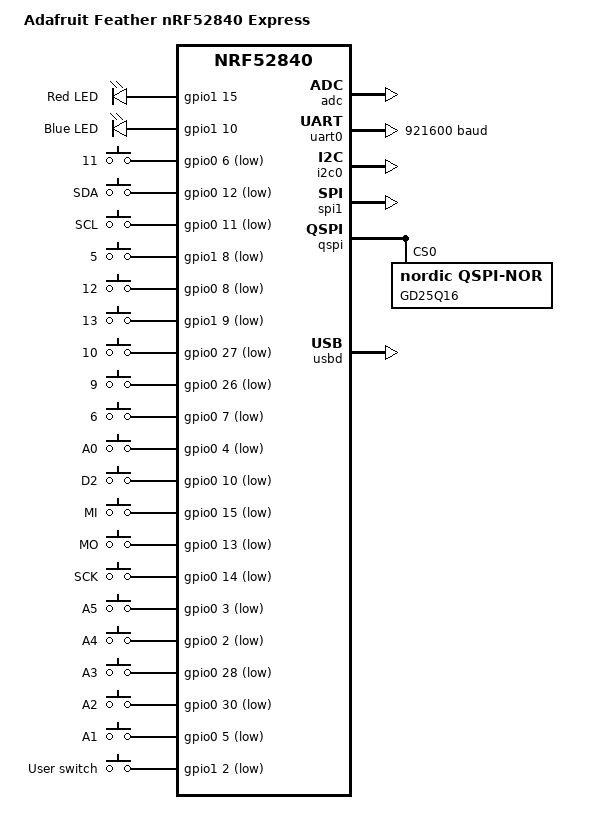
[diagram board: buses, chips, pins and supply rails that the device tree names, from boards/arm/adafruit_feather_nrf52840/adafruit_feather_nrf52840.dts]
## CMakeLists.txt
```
cmake_minimum_required(VERSION 3.20.0)

set(BOARD_ROOT ${CMAKE_CURRENT_LIST_DIR})

find_package(Zephyr REQUIRED HINTS $ENV{ZEPHYR_BASE})
project(NONE)

target_sources(app PRIVATE
    src/main.c
)
```

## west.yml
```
manifest:
  remotes:
    - name: ncs
      url-base: https://github.com/nrfconnect
  projects:
    - name: nrf
      remote: ncs
      repo-path: sdk-nrf
      revision: v3.2.4
      import: true
```

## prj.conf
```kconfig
CONFIG_BT=y
CONFIG_BT_DEBUG_LOG=y
#CONFIG_BT_MAX_CONN=1
#CONFIG_BT_MAX_PAIRED=1
CONFIG_BT_L2CAP_TX_BUF_COUNT=5
CONFIG_BT_PERIPHERAL=y
#CONFIG_BT_DEVICE_NAME="Gamepad nRF52"
CONFIG_BT_DEVICE_APPEARANCE=964

CONFIG_BT_BAS=y
CONFIG_BT_HIDS=y
#CONFIG_BT_HIDS_MAX_CLIENT_COUNT=1
CONFIG_BT_GATT_UUID16_POOL_SIZE=40
CONFIG_BT_GATT_CHRC_POOL_SIZE=20

CONFIG_BT_CONN_CTX=y

CONFIG_BT_DIS=y
CONFIG_BT_DIS_PNP=y
CONFIG_BT_DIS_MANUF="Arasaka"
CONFIG_BT_DIS_PNP_VID_SRC=2
CONFIG_BT_DIS_PNP_VID=0x18d1
CONFIG_BT_DIS_PNP_PID=0x9400
CONFIG_BT_DIS_PNP_VER=0x0100

CONFIG_MAIN_STACK_SIZE=1536
CONFIG_SYSTEM_WORKQUEUE_STACK_SIZE=2048

CONFIG_BT_HIDS_DEFAULT_PERM_RW_ENCRYPT=y

CONFIG_BT_SMP=y
CONFIG_BT_SETTINGS=y
CONFIG_FLASH=y
CONFIG_FLASH_PAGE_LAYOUT=y
CONFIG_FLASH_MAP=y
CONFIG_NVS=y
CONFIG_SETTINGS=y

CONFIG_BT_PRIVACY=y

CONFIG_LOG=y
CONFIG_LOG_MAX_LEVEL=3
#CONFIG_BT_HIDS_LOG_LEVEL_DBG=y
#CONFIG_BT_GATT_LOG_LEVEL_DBG=y

CONFIG_BT_FILTER_ACCEPT_LIST=y

CONFIG_USE_DT_CODE_PARTITION=y
CONFIG_BUILD_OUTPUT_UF2=y

CONFIG_GPIO=y

CONFIG_POWEROFF=y

CONFIG_NRF_STORE_REBOOT_TYPE_GPREGRET=y
```

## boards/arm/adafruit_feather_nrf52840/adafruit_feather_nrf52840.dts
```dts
/*
 * Copyright (c) 2020 Tobias Svehagen
 *
 * SPDX-License-Identifier: Apache-2.0
 */

/dts-v1/;
#include <nordic/nrf52840_qiaa.dtsi>
#include "feather_connector.dtsi"
#include "adafruit_feather_nrf52840-pinctrl.dtsi"

/ {
	model = "Adafruit Feather nRF52840 Express";
	compatible = "adafruit,feather-nrf52840";

	chosen {
		zephyr,console = &uart0;
		zephyr,shell-uart = &uart0;
		zephyr,uart-mcumgr = &uart0;
		zephyr,bt-mon-uart = &uart0;
		zephyr,bt-c2h-uart = &uart0;
		zephyr,sram = &sram0;
		zephyr,flash = &flash0;
		zephyr,code-partition = &code_partition;
	};

	leds {
		compatible = "gpio-leds";
		led0: led_0 {
			gpios = <&gpio1 15 0>;
			label = "Red LED";
		};
		led1: led_1 {
			gpios = <&gpio1 10 0>;
			label = "Blue LED";
		};
	};

	buttons {
		compatible = "gpio-keys";
		button17: button_17 { gpios = <&gpio0 6 (GPIO_PULL_UP | GPIO_ACTIVE_LOW)>; label = "11"; };
		button11: button_11 { gpios = <&gpio0 12 (GPIO_PULL_UP | GPIO_ACTIVE_LOW)>; label = "SDA"; };
		button12: button_12 { gpios = <&gpio0 11 (GPIO_PULL_UP | GPIO_ACTIVE_LOW)>; label = "SCL"; };
		button13: button_13 { gpios = <&gpio1 8 (GPIO_PULL_UP | GPIO_ACTIVE_LOW)>; label = "5"; };
		button18: button_18 { gpios = <&gpio0 8 (GPIO_PULL_UP | GPIO_ACTIVE_LOW)>; label = "12"; };
		button19: button_19 { gpios = <&gpio1 9 (GPIO_PULL_UP | GPIO_ACTIVE_LOW)>; label = "13"; };
		button16: button_16 { gpios = <&gpio0 27 (GPIO_PULL_UP | GPIO_ACTIVE_LOW)>; label = "10"; };
		button15: button_15 { gpios = <&gpio0 26 (GPIO_PULL_UP | GPIO_ACTIVE_LOW)>; label = "9"; };
		button14: button_14 { gpios = <&gpio0 7 (GPIO_PULL_UP | GPIO_ACTIVE_LOW)>; label = "6"; };
		button1: button_1 { gpios = <&gpio0 4 (GPIO_PULL_UP | GPIO_ACTIVE_LOW)>; label = "A0"; };
		button10: button_10 { gpios = <&gpio0 10 (GPIO_PULL_UP | GPIO_ACTIVE_LOW)>; label = "D2"; };
		button9: button_9 { gpios = <&gpio0 15 (GPIO_PULL_UP | GPIO_ACTIVE_LOW)>; label = "MI"; };
		button8: button_8 { gpios = <&gpio0 13 (GPIO_PULL_UP | GPIO_ACTIVE_LOW)>; label = "MO"; };
		button7: button_7 { gpios = <&gpio0 14 (GPIO_PULL_UP | GPIO_ACTIVE_LOW)>; label = "SCK"; };
		button6: button_6 { gpios = <&gpio0 3 (GPIO_PULL_UP | GPIO_ACTIVE_LOW)>; label = "A5"; };
		button5: button_5 { gpios = <&gpio0 2 (GPIO_PULL_UP | GPIO_ACTIVE_LOW)>; label = "A4"; };
		button4: button_4 { gpios = <&gpio0 28 (GPIO_PULL_UP | GPIO_ACTIVE_LOW)>; label = "A3"; };
		button3: button_3 { gpios = <&gpio0 30 (GPIO_PULL_UP | GPIO_ACTIVE_LOW)>; label = "A2"; };

		button2: button_2 { gpios = <&gpio0 5 (GPIO_PULL_UP | GPIO_ACTIVE_LOW)>; label = "A1"; };
		button0: button_0 { gpios = <&gpio1 2 (GPIO_PULL_UP | GPIO_ACTIVE_LOW)>; label = "User switch"; };
	};

	/* These aliases are provided for compatibility with samples */
	aliases {
		led0 = &led0;
		led1 = &led1;
		sw0 = &button0;
	};
};

&adc {
	status = "okay";
};

&gpiote {
	status = "okay";
};

&gpio0 {
	status = "okay";
	sense-edge-mask = < 0xffffffff >;
};

&gpio1 {
	status = "okay";
	sense-edge-mask = < 0xffffffff >;
};

&uart0 {
	compatible = "nordic,nrf-uart";
	current-speed = <921600>;
	status = "okay";
	pinctrl-0 = <&uart0_default>;
	pinctrl-1 = <&uart0_sleep>;
	pinctrl-names = "default", "sleep";
};

&i2c0 {
	compatible = "nordic,nrf-twi";
	status = "okay";
	pinctrl-0 = <&i2c0_default>;
	pinctrl-1 = <&i2c0_sleep>;
	pinctrl-names = "default", "sleep";
};

&spi1 {
	compatible = "nordic,nrf-spi";
	status = "okay";
	pinctrl-0 = <&spi1_default>;
	pinctrl-1 = <&spi1_sleep>;
	pinctrl-names = "default", "sleep";
};

&qspi {
	status = "okay";
	pinctrl-0 = <&qspi_default>;
	pinctrl-1 = <&qspi_sleep>;
	pinctrl-names = "default", "sleep";
	gd25q16: gd25q16@0 {
		compatible = "nordic,qspi-nor";
		reg = <0>;
		writeoc = "pp4o";
		readoc = "read4io";
		sck-frequency = <16000000>;
		label = "GD25Q16";
		jedec-id = [c8 40 15];
		size = <16777216>;
		has-dpd;
		t-enter-dpd = <20000>;
		t-exit-dpd = <20000>;
		quad-enable-requirements = "S2B1v1";
	};
};

&flash0 {

	partitions {
		compatible = "fixed-partitions";
		#address-cells = <1>;
		#size-cells = <1>;

		sd_partition: partition@0 {
			label = "softdevice";
			reg = <0x00000000 0x00026000>;
		};

		code_partition: partition@26000 {
			label = "code_partition";
			reg = <0x00026000 0x000c6000>;
		};

		storage_partition: partition@ec000 {
			label = "storage";
			reg = <0x000ec000 0x00008000>;
		};

		boot_partition: partition@f4000 {
			label = "adafruit_boot";
			reg = <0x000f4000 0x0000c000>;
		};
	};
};

zephyr_udc0: &usbd {
	compatible = "nordic,nrf-usbd";
	status = "okay";
};
```

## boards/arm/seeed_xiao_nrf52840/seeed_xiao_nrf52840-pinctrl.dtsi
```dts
/*
 * Copyright (c) 2022 Nordic Semiconductor
 * SPDX-License-Identifier: Apache-2.0
 */

&pinctrl {
	uart0_default: uart0_default {
		group1 {
			psels = <NRF_PSEL(UART_TX, 1, 11)>,
				<NRF_PSEL(UART_RX, 1, 12)>;
		};
	};

	uart0_sleep: uart0_sleep {
		group1 {
			psels = <NRF_PSEL(UART_TX, 1, 11)>,
				<NRF_PSEL(UART_RX, 1, 12)>;
			low-power-enable;
		};
	};

	i2c0_default: i2c0_default {
		group1 {
			psels = <NRF_PSEL(TWIM_SDA, 0, 4)>,
				<NRF_PSEL(TWIM_SCL, 0, 5)>;
			bias-pull-up;
		};
	};

	i2c0_sleep: i2c0_sleep {
		group1 {
			psels = <NRF_PSEL(TWIM_SDA, 0, 4)>,
				<NRF_PSEL(TWIM_SCL, 0, 5)>;
			low-power-enable;
		};
	};

	spi1_default: spi1_default {
		group1 {
			psels = <NRF_PSEL(SPIM_SCK, 1, 13)>,
				<NRF_PSEL(SPIM_MOSI, 1, 15)>,
				<NRF_PSEL(SPIM_MISO, 1, 14)>;
		};
	};

	spi1_sleep: spi1_sleep {
		group1 {
			psels = <NRF_PSEL(SPIM_SCK, 1, 13)>,
				<NRF_PSEL(SPIM_MOSI, 1, 15)>,
				<NRF_PSEL(SPIM_MISO, 1, 14)>;
			low-power-enable;
		};
	};

	qspi_default: qspi_default {
		group1 {
			psels = <NRF_PSEL(QSPI_SCK, 0, 19)>,
				<NRF_PSEL(QSPI_IO0, 0, 17)>,
				<NRF_PSEL(QSPI_IO1, 0, 22)>,
				<NRF_PSEL(QSPI_IO2, 0, 23)>,
				<NRF_PSEL(QSPI_IO3, 0, 21)>,
				<NRF_PSEL(QSPI_CSN, 0, 20)>;
		};
	};

	qspi_sleep: qspi_sleep {
		group1 {
			psels = <NRF_PSEL(QSPI_SCK, 0, 19)>,
				<NRF_PSEL(QSPI_IO0, 0, 17)>,
				<NRF_PSEL(QSPI_IO1, 0, 22)>,
				<NRF_PSEL(QSPI_IO2, 0, 23)>,
				<NRF_PSEL(QSPI_IO3, 0, 21)>,
				<NRF_PSEL(QSPI_CSN, 0, 20)>;
			low-power-enable;
		};
	};

};
```

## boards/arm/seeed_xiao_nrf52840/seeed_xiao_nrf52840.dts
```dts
/*
 * Copyright (c) 2020 Tobias Svehagen
 *
 * SPDX-License-Identifier: Apache-2.0
 */

/dts-v1/;
#include <nordic/nrf52840_qiaa.dtsi>
#include "seeed_xiao_nrf52840-pinctrl.dtsi"

/ {
	model = "Seeed Studio XIAO nRF52840";
	compatible = "seeed,xiao-nrf52840";

	chosen {
		zephyr,console = &uart0;
		zephyr,shell-uart = &uart0;
		zephyr,uart-mcumgr = &uart0;
		zephyr,bt-mon-uart = &uart0;
		zephyr,bt-c2h-uart = &uart0;
		zephyr,sram = &sram0;
		zephyr,flash = &flash0;
		zephyr,code-partition = &code_partition;
	};

	leds {
		compatible = "gpio-leds";
		led0: led_0 {
			gpios = <&gpio0 26 GPIO_ACTIVE_LOW>;
			label = "Red LED";
		};
		led1: led_1 {
			gpios = <&gpio0 6 GPIO_ACTIVE_LOW>;
			label = "Blue LED";
		};
		expanderreset: expander_reset {
			gpios = <&gpio1 13 GPIO_ACTIVE_LOW>;
			label = "expander reset";
		};
	};

	buttons {
		compatible = "gpio-keys";
		button0: button_0 { gpios = <&gpio0 2 (GPIO_PULL_UP | GPIO_ACTIVE_LOW)>; label = "D0"; };
		button1: button_1 { gpios = <&gpio0 3 (GPIO_PULL_UP | GPIO_ACTIVE_LOW)>; label = "D1"; };
		button2: button_2 { gpios = <&gpio0 28 (GPIO_PULL_UP | GPIO_ACTIVE_LOW)>; label = "D2"; };
		button3: button_3 { gpios = <&gpio0 29 (GPIO_PULL_UP | GPIO_ACTIVE_LOW)>; label = "D3"; };
		button21: button_21 { gpios = <&expander1 1 (GPIO_PULL_UP | GPIO_ACTIVE_LOW)>; label = "GPA1"; };
		button20: button_20 { gpios = <&expander1 0 (GPIO_PULL_UP | GPIO_ACTIVE_LOW)>; label = "GPA0"; };
		button23: button_23 { gpios = <&expander1 3 (GPIO_PULL_UP | GPIO_ACTIVE_LOW)>; label = "GPA3"; };
		button22: button_22 { gpios = <&expander1 2 (GPIO_PULL_UP | GPIO_ACTIVE_LOW)>; label = "GPA2"; };
		button26: button_26 { gpios = <&expander1 6 (GPIO_PULL_UP | GPIO_ACTIVE_LOW)>; label = "GPA6"; };
		button24: button_24 { gpios = <&expander1 4 (GPIO_PULL_UP | GPIO_ACTIVE_LOW)>; label = "GPA4"; };
		button32: button_32 { gpios = <&expander1 10 (GPIO_PULL_UP | GPIO_ACTIVE_LOW)>; label = "GPB2"; };
		button36: button_36 { gpios = <&expander1 14 (GPIO_PULL_UP | GPIO_ACTIVE_LOW)>; label = "GPB6"; };
		button35: button_35 { gpios = <&expander1 13 (GPIO_PULL_UP | GPIO_ACTIVE_LOW)>; label = "GPB5"; };
		button34: button_34 { gpios = <&expander1 12 (GPIO_PULL_UP | GPIO_ACTIVE_LOW)>; label = "GPB4"; };
		button25: button_25 { gpios = <&expander1 5 (GPIO_PULL_UP | GPIO_ACTIVE_LOW)>; label = "GPA5"; };
		button33: button_33 { gpios = <&expander1 11 (GPIO_PULL_UP | GPIO_ACTIVE_LOW)>; label = "GPB3"; };
		button31: button_31 { gpios = <&expander1 9 (GPIO_PULL_UP | GPIO_ACTIVE_LOW)>; label = "GPB1"; };
		button30: button_30 { gpios = <&expander1 8 (GPIO_PULL_UP | GPIO_ACTIVE_LOW)>; label = "GPB0"; };
	};

	/* These aliases are provided for compatibility with samples */
	aliases {
		led0 = &led0;
		led1 = &led1;
		sw0 = &button0;
		expanderreset = &expanderreset;
	};
};

&adc {
	status = "okay";
};

&gpiote {
	status = "okay";
};

&gpio0 {
	status = "okay";
	sense-edge-mask = < 0xffffffff >;
};

&gpio1 {
	status = "okay";
	sense-edge-mask = < 0xffffffff >;
};

&uart0 {
	compatible = "nordic,nrf-uart";
	current-speed = <921600>;
	status = "okay";
	pinctrl-0 = <&uart0_default>;
	pinctrl-1 = <&uart0_sleep>;
	pinctrl-names = "default", "sleep";
};

&i2c0 {
	compatible = "nordic,nrf-twi";
	status = "okay";
	pinctrl-0 = <&i2c0_default>;
	pinctrl-1 = <&i2c0_sleep>;
	pinctrl-names = "default", "sleep";

	expander1: mcp230xx@20 {
		compatible = "microchip,mcp230xx";
		reg = <0x20>;
		gpio-controller;
		#gpio-cells = <2>;
		ngpios = <16>;
/*		int-gpios = <&gpio1 13 0>; */
		reset-gpios = <&gpio1 13 GPIO_ACTIVE_LOW>;
	};

};

&spi1 {
	compatible = "nordic,nrf-spi";
	status = "okay";
	pinctrl-0 = <&spi1_default>;
	pinctrl-1 = <&spi1_sleep>;
	pinctrl-names = "default", "sleep";
};

&qspi {
	status = "okay";
	pinctrl-0 = <&qspi_default>;
	pinctrl-1 = <&qspi_sleep>;
	pinctrl-names = "default", "sleep";
	gd25q16: gd25q16@0 {
		compatible = "nordic,qspi-nor";
		reg = <0>;
		writeoc = "pp4o";
		readoc = "read4io";
		sck-frequency = <16000000>;
		label = "GD25Q16";
		jedec-id = [c8 40 15];
		size = <16777216>;
		has-dpd;
		t-enter-dpd = <20000>;
		t-exit-dpd = <20000>;
		quad-enable-requirements = "S2B1v1";
	};
};

&flash0 {

	partitions {
		compatible = "fixed-partitions";
		#address-cells = <1>;
		#size-cells = <1>;

		sd_partition: partition@0 {
			label = "softdevice";
			reg = <0x00000000 0x00027000>;
		};

		code_partition: partition@27000 {
			label = "code_partition";
			reg = <0x00027000 0x000c5000>;
		};

		storage_partition: partition@ec000 {
			label = "storage";
			reg = <0x000ec000 0x00008000>;
		};

		boot_partition: partition@f4000 {
			label = "adafruit_boot";
			reg = <0x000f4000 0x0000c000>;
		};
	};
};

zephyr_udc0: &usbd {
	compatible = "nordic,nrf-usbd";
	status = "okay";
};
```

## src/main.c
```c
#include <assert.h>
#include <errno.h>
#include <soc.h>
#include <stddef.h>
#include <string.h>
#include <zephyr/drivers/gpio.h>
#include <zephyr/kernel.h>
#include <zephyr/logging/log.h>
#include <zephyr/settings/settings.h>
#include <zephyr/sys/byteorder.h>
#include <zephyr/sys/poweroff.h>
#include <zephyr/sys/printk.h>
#include <zephyr/sys/reboot.h>
#include <zephyr/types.h>

#include <zephyr/bluetooth/bluetooth.h>
#include <zephyr/bluetooth/conn.h>
#include <zephyr/bluetooth/gatt.h>
#include <zephyr/bluetooth/hci.h>
#include <zephyr/bluetooth/uuid.h>

#include <bluetooth/services/hids.h>
#include <zephyr/bluetooth/services/bas.h>
#include <zephyr/bluetooth/services/dis.h>

LOG_MODULE_REGISTER(gamepad, LOG_LEVEL_DBG);

#if DT_NODE_HAS_STATUS(DT_ALIAS(expanderreset), okay)
static const struct gpio_dt_spec expander_reset = GPIO_DT_SPEC_GET(DT_ALIAS(expanderreset), gpios);
#endif

#define CHK(X) ({ int err = X; if (err != 0) { LOG_ERR("%s returned %d (%s:%d)", #X, err, __FILE__, __LINE__); } err == 0; })

#define REPORT_ID 3
#define REPORT_ID_IDX 0
#define REPORT_LEN 10

#define HIDS_QUEUE_SIZE 10

#define DISCONNECTED_SLEEP_TIMEOUT K_SECONDS(60)
#define CONNECTED_SLEEP_TIMEOUT K_SECONDS(600)

#define SYS_BUTTON_LONG_PRESS_MS 3000
#define SYS_BUTTON_VERY_LONG_PRESS_MS 10000

struct __attribute__((packed)) report_t {
    uint8_t dpad;
    uint8_t capture : 1;
    uint8_t assistant : 1;
    uint8_t l2 : 1;
    uint8_t r2 : 1;
    uint8_t stadia : 1;
    uint8_t menu : 1;
    uint8_t options : 1;
    uint8_t r3 : 1;
    uint8_t l3 : 1;
    uint8_t r1 : 1;
    uint8_t l1 : 1;
    uint8_t y : 1;
    uint8_t x : 1;
    uint8_t b : 1;
    uint8_t a : 1;
    uint8_t padding : 1;
    uint8_t lx;
    uint8_t ly;
    uint8_t rx;
    uint8_t ry;
    uint8_t l2_axis;
    uint8_t r2_axis;
    uint8_t extra_buttons;
};

static struct report_t report;
static struct report_t prev_report;

static const uint8_t dpad_lut[] = { 0x0F, 0x06, 0x02, 0x0F, 0x00, 0x07, 0x01, 0x00, 0x04, 0x05, 0x03, 0x04, 0x0F, 0x06, 0x02, 0x0F };

#define GPIO_SPEC_AND_COMMA(button) GPIO_DT_SPEC_GET(button, gpios),

static const struct gpio_dt_spec buttons[] = {
    DT_FOREACH_CHILD(DT_PATH(buttons), GPIO_SPEC_AND_COMMA)
};

BT_HIDS_DEF(hids_obj, REPORT_LEN);

K_MSGQ_DEFINE(hids_queue, REPORT_LEN, HIDS_QUEUE_SIZE, 4);

static const struct bt_data ad[] = {
    BT_DATA(BT_DATA_NAME_COMPLETE, CONFIG_BT_DEVICE_NAME, (sizeof(CONFIG_BT_DEVICE_NAME) - 1)),
    BT_DATA_BYTES(BT_DATA_GAP_APPEARANCE,
        (CONFIG_BT_DEVICE_APPEARANCE >> 0) & 0xff,
        (CONFIG_BT_DEVICE_APPEARANCE >> 8) & 0xff),
    BT_DATA_BYTES(BT_DATA_FLAGS, (BT_LE_AD_GENERAL | BT_LE_AD_NO_BREDR)),
    BT_DATA_BYTES(BT_DATA_UUID16_ALL, BT_UUID_16_ENCODE(BT_UUID_HIDS_VAL), BT_UUID_16_ENCODE(BT_UUID_BAS_VAL)),
};

static struct bt_conn* active_conn = NULL;
static bool try_directed;

static int prev_sys_button_state = 0;
static int64_t sys_button_pressed_at;

static void sleep_work_fn(struct k_work* work) {
#if DT_NODE_HAS_STATUS(DT_ALIAS(expanderreset), okay)
    // drive expander reset pin low
    gpio_pin_set_dt(&expander_reset, 1);
#endif
    LOG_INF("Going to sleep...");
    sys_poweroff();
}
static K_WORK_DELAYABLE_DEFINE(sleep_work, sleep_work_fn);

static void bond_find(const struct bt_bond_info* info, void* user_data) {
    bt_addr_le_copy(user_data, &info->addr);
}

static void advertising_work_fn(struct k_work* work) {
    LOG_INF("");

    struct bt_le_adv_param adv_param;

    char addr_buf[BT_ADDR_LE_STR_LEN];

    bt_addr_le_t addr;
    bt_addr_le_copy(&addr, BT_ADDR_LE_NONE);
    bt_foreach_bond(BT_ID_DEFAULT, bond_find, &addr);

    if (try_directed && !bt_addr_le_eq(&addr, BT_ADDR_LE_NONE)) {
        adv_param = *BT_LE_ADV_CONN_DIR(&addr);
        //        adv_param = *BT_LE_ADV_CONN_DIR_LOW_DUTY(&addr);
        adv_param.options |= BT_LE_ADV_OPT_DIR_ADDR_RPA;

        if (!CHK(bt_le_adv_start(&adv_param, NULL, 0, NULL, 0))) {
            return;
        }

        bt_addr_le_to_str(&addr, addr_buf, BT_ADDR_LE_STR_LEN);
        LOG_INF("Directed advertising to %s started.", addr_buf);
    } else {
        adv_param = *BT_LE_ADV_CONN;
        adv_param.options |= BT_LE_ADV_OPT_ONE_TIME;
        if (!bt_addr_le_eq(&addr, BT_ADDR_LE_NONE)) {
            bt_addr_le_to_str(&addr, addr_buf, BT_ADDR_LE_STR_LEN);
            LOG_INF("Enabling filter: %s", addr_buf);
            adv_param.options |= BT_LE_ADV_OPT_FILTER_CONN;
            adv_param.options |= BT_LE_ADV_OPT_FILTER_SCAN_REQ;
            bt_le_filter_accept_list_clear();
            bt_le_filter_accept_list_add(&addr);
        } else {
            LOG_INF("Not enabling filter.");
        }

        if (!CHK(bt_le_adv_start(&adv_param, ad, ARRAY_SIZE(ad), NULL, 0))) {
            return;
        }

        LOG_INF("Regular advertising started.");
    }
}
static K_WORK_DEFINE(advertising_work, advertising_work_fn);

static void advertising_start(void) {
    //    try_directed = true;
    try_directed = false;
    k_work_submit(&advertising_work);
    k_work_reschedule(&sleep_work, DISCONNECTED_SLEEP_TIMEOUT);
}

static void advertising_restart(void) {
    try_directed = false;
    k_work_submit(&advertising_work);
}

static void clear_bonds_work_fn(struct k_work* work) {
    LOG_INF("");
    bt_unpair(BT_ID_DEFAULT, BT_ADDR_LE_ANY);
    if (active_conn != NULL) {
        LOG_INF("Disconnecting...");
        CHK(bt_conn_disconnect(active_conn, BT_HCI_ERR_REMOTE_USER_TERM_CONN));
    } else {
        LOG_INF("(not connected)");
        CHK(bt_le_adv_stop());
        advertising_start();
    }
}
static K_WORK_DEFINE(clear_bonds_work, clear_bonds_work_fn);

static void connected(struct bt_conn* conn, uint8_t err) {
    char addr[BT_ADDR_LE_STR_LEN];

    bt_addr_le_to_str(bt_conn_get_dst(conn), addr, sizeof(addr));

    if (err) {
        if (err == BT_HCI_ERR_ADV_TIMEOUT) {
            LOG_INF("Directed advertising to %s timed out.", addr);
            advertising_restart();
        } else {
            LOG_ERR("Failed to connect to %s (%u).", addr, err);
        }
        return;
    }

    active_conn = conn;

    LOG_INF("%s", addr);

    CHK(bt_hids_connected(&hids_obj, conn));

    k_work_reschedule(&sleep_work, CONNECTED_SLEEP_TIMEOUT);
}

static void disconnected(struct bt_conn* conn, uint8_t reason) {
    char addr[BT_ADDR_LE_STR_LEN];

    bt_addr_le_to_str(bt_conn_get_dst(conn), addr, sizeof(addr));

    LOG_INF("%s (reason=%u)", addr, reason);

    if (conn == active_conn) {
        CHK(bt_hids_disconnected(&hids_obj, conn));
        active_conn = NULL;
    } else {
        LOG_ERR("Disconnected from a different connection than the active one?");
    }

    advertising_start();
}

static void security_changed(struct bt_conn* conn, bt_security_t level, enum bt_security_err err) {
    char addr[BT_ADDR_LE_STR_LEN];

    bt_addr_le_to_str(bt_conn_get_dst(conn), addr, sizeof(addr));

    if (!err) {
        LOG_INF("%s, level=%u", addr, level);
    } else {
        LOG_ERR("Security failed: %s, level=%u, err=%d\n", addr, level, err);
    }
}

BT_CONN_CB_DEFINE(conn_callbacks) = {
    .connected = connected,
    .disconnected = disconnected,
    .security_changed = security_changed,
};

static void auth_cancel(struct bt_conn* conn) {
    char addr[BT_ADDR_LE_STR_LEN];
    bt_addr_le_to_str(bt_conn_get_dst(conn), addr, sizeof(addr));
    LOG_WRN("%s", addr);
}

static void pairing_complete(struct bt_conn* conn, bool bonded) {
    char addr[BT_ADDR_LE_STR_LEN];
    bt_addr_le_to_str(bt_conn_get_dst(conn), addr, sizeof(addr));
    LOG_INF("%s, bonded=%d", addr, bonded);
}

static void pairing_failed(struct bt_conn* conn, enum bt_security_err reason) {
    char addr[BT_ADDR_LE_STR_LEN];
    bt_addr_le_to_str(bt_conn_get_dst(conn), addr, sizeof(addr));
    LOG_ERR("%s, reason=%d", addr, reason);
}

static struct bt_conn_auth_cb conn_auth_callbacks = {
    .cancel = auth_cancel,
};

static struct bt_conn_auth_info_cb conn_auth_info_callbacks = {
    .pairing_complete = pairing_complete,
    .pairing_failed = pairing_failed
};

static uint8_t const report_map[] = {
    0x05, 0x01,        // Usage Page (Generic Desktop Ctrls)
    0x09, 0x05,        // Usage (Game Pad)
    0xA1, 0x01,        // Collection (Application)
    0x85, 0x03,        //   Report ID (3)
    0x05, 0x01,        //   Usage Page (Generic Desktop Ctrls)
    0x75, 0x04,        //   Report Size (4)
    0x95, 0x01,        //   Report Count (1)
    0x25, 0x07,        //   Logical Maximum (7)
    0x46, 0x3B, 0x01,  //   Physical Maximum (315)
    0x65, 0x14,        //   Unit (System: English Rotation, Length: Centimeter)
    0x09, 0x39,        //   Usage (Hat switch)
    0x81, 0x42,        //   Input (Data,Var,Abs,No Wrap,Linear,Preferred State,Null State)
    0x45, 0x00,        //   Physical Maximum (0)
    0x65, 0x00,        //   Unit (None)
    0x75, 0x01,        //   Report Size (1)
    0x95, 0x04,        //   Report Count (4)
    0x81, 0x01,        //   Input (Const,Array,Abs,No Wrap,Linear,Preferred State,No Null Position)
    0x05, 0x09,        //   Usage Page (Button)
    0x15, 0x00,        //   Logical Minimum (0)
    0x25, 0x01,        //   Logical Maximum (1)
    0x75, 0x01,        //   Report Size (1)
    0x95, 0x0F,        //   Report Count (15)
    0x09, 0x12,        //   Usage (0x12)
    0x09, 0x11,        //   Usage (0x11)
    0x09, 0x14,        //   Usage (0x14)
    0x09, 0x13,        //   Usage (0x13)
    0x09, 0x0D,        //   Usage (0x0D)
    0x09, 0x0C,        //   Usage (0x0C)
    0x09, 0x0B,        //   Usage (0x0B)
    0x09, 0x0F,        //   Usage (0x0F)
    0x09, 0x0E,        //   Usage (0x0E)
    0x09, 0x08,        //   Usage (0x08)
    0x09, 0x07,        //   Usage (0x07)
    0x09, 0x05,        //   Usage (0x05)
    0x09, 0x04,        //   Usage (0x04)
    0x09, 0x02,        //   Usage (0x02)
    0x09, 0x01,        //   Usage (0x01)
    0x81, 0x02,        //   Input (Data,Var,Abs,No Wrap,Linear,Preferred State,No Null Position)
    0x75, 0x01,        //   Report Size (1)
    0x95, 0x01,        //   Report Count (1)
    0x81, 0x01,        //   Input (Const,Array,Abs,No Wrap,Linear,Preferred State,No Null Position)
    0x05, 0x01,        //   Usage Page (Generic Desktop Ctrls)
    0x15, 0x01,        //   Logical Minimum (1)
    0x26, 0xFF, 0x00,  //   Logical Maximum (255)
    0x09, 0x01,        //   Usage (Pointer)
    0xA1, 0x00,        //   Collection (Physical)
    0x09, 0x30,        //     Usage (X)
    0x09, 0x31,        //     Usage (Y)
    0x75, 0x08,        //     Report Size (8)
    0x95, 0x02,        //     Report Count (2)
    0x81, 0x02,        //     Input (Data,Var,Abs,No Wrap,Linear,Preferred State,No Null Position)
    0xC0,              //   End Collection
    0x09, 0x01,        //   Usage (Pointer)
    0xA1, 0x00,        //   Collection (Physical)
    0x09, 0x32,        //     Usage (Z)
    0x09, 0x35,        //     Usage (Rz)
    0x75, 0x08,        //     Report Size (8)
    0x95, 0x02,        //     Report Count (2)
    0x81, 0x02,        //     Input (Data,Var,Abs,No Wrap,Linear,Preferred State,No Null Position)
    0xC0,              //   End Collection
    0x05, 0x02,        //   Usage Page (Sim Ctrls)
    0x75, 0x08,        //   Report Size (8)
    0x95, 0x02,        //   Report Count (2)
    0x15, 0x00,        //   Logical Minimum (0)
    0x26, 0xFF, 0x00,  //   Logical Maximum (255)
    0x09, 0xC5,        //   Usage (Brake)
    0x09, 0xC4,        //   Usage (Accelerator)
    0x81, 0x02,        //   Input (Data,Var,Abs,No Wrap,Linear,Preferred State,No Null Position)
    0x05, 0x0C,        //   Usage Page (Consumer)
    0x15, 0x00,        //   Logical Minimum (0)
    0x25, 0x01,        //   Logical Maximum (1)
    0x09, 0xE9,        //   Usage (Volume Increment)
    0x09, 0xEA,        //   Usage (Volume Decrement)
    0x75, 0x01,        //   Report Size (1)
    0x95, 0x02,        //   Report Count (2)
    0x81, 0x02,        //   Input (Data,Var,Abs,No Wrap,Linear,Preferred State,No Null Position)
    0x09, 0xCD,        //   Usage (Play/Pause)
    0x95, 0x01,        //   Report Count (1)
    0x81, 0x02,        //   Input (Data,Var,Abs,No Wrap,Linear,Preferred State,No Null Position)
    0x95, 0x05,        //   Report Count (5)
    0x81, 0x01,        //   Input (Const,Array,Abs,No Wrap,Linear,Preferred State,No Null Position)

    /*
        0x85, 0x05,                    //   Report ID (5)
        0x06, 0x0F, 0x00,              //   Usage Page (PID Page)
        0x09, 0x97,                    //   Usage (0x97)
        0x75, 0x10,                    //   Report Size (16)
        0x95, 0x02,                    //   Report Count (2)
        0x27, 0xFF, 0xFF, 0x00, 0x00,  //   Logical Maximum (65535)
        0x91, 0x02,                    //   Output (Data,Var,Abs,No Wrap,Linear,Preferred State,No Null Position,Non-volatile)
    */

    0xC0,  // End Collection
};

static void hid_init(void) {
    struct bt_hids_init_param hids_init_param = { 0 };
    struct bt_hids_inp_rep* hids_inp_rep;

    hids_init_param.rep_map.data = report_map;
    hids_init_param.rep_map.size = sizeof(report_map);

    hids_init_param.info.bcd_hid = 0x0101;
    hids_init_param.info.b_country_code = 0x00;
    hids_init_param.info.flags = (BT_HIDS_REMOTE_WAKE |
                                  BT_HIDS_NORMALLY_CONNECTABLE);

    hids_inp_rep = &hids_init_param.inp_rep_group_init.reports[0];
    hids_inp_rep->size = sizeof(struct report_t);
    hids_inp_rep->id = REPORT_ID;
    hids_init_param.inp_rep_group_init.cnt++;

    CHK(bt_hids_init(&hids_obj, &hids_init_param));
}

static void report_sent_cb(struct bt_conn* conn, void* user_data) {
    LOG_DBG("");
}

static void hids_work_fn(struct k_work* work) {
    uint8_t report[REPORT_LEN];

    while (!k_msgq_get(&hids_queue, report, K_NO_WAIT)) {
        if (active_conn != NULL) {
            k_work_reschedule(&sleep_work, CONNECTED_SLEEP_TIMEOUT);
            LOG_DBG("Sending report...");
            CHK(bt_hids_inp_rep_send(&hids_obj, active_conn, REPORT_ID_IDX, report, REPORT_LEN, report_sent_cb));
        }
    }
}
static K_WORK_DEFINE(hids_work, hids_work_fn);

static void reset_to_bootloader() {
    // https://github.com/adafruit/Adafruit_nRF52_Bootloader/blob/master/src/main.c#L116
    sys_reboot(0x57);
}

static void report_init() {
    memset(&report, 0, sizeof(report));
    report.dpad = 8;
    report.lx = 0x80;
    report.ly = 0x80;
    report.rx = 0x80;
    report.ry = 0x80;
    memcpy(&prev_report, &report, sizeof(report));
}

static void configure_buttons(void) {
    for (size_t i = 0; i < ARRAY_SIZE(buttons); i++) {
        CHK(gpio_pin_configure_dt(&buttons[i], GPIO_INPUT | GPIO_PULL_UP | GPIO_ACTIVE_LOW));
    }

    CHK(gpio_pin_interrupt_configure_dt(&buttons[0], GPIO_INT_EDGE_BOTH));
}

static void handle_buttons() {
    int sys_button_state = gpio_pin_get_dt(&buttons[0]);
    int64_t now = k_uptime_get();
    if (!prev_sys_button_state && sys_button_state) {
        sys_button_pressed_at = now;
    }

    if (prev_sys_button_state && !sys_button_state) {
        int64_t duration = now - sys_button_pressed_at;
        if (duration >= SYS_BUTTON_VERY_LONG_PRESS_MS) {
            reset_to_bootloader();
        } else if (duration >= SYS_BUTTON_LONG_PRESS_MS) {
            k_work_submit(&clear_bonds_work);
        }
    }
    prev_sys_button_state = sys_button_state;

    report.menu = gpio_pin_get_dt(&buttons[0]);
    report.options = gpio_pin_get_dt(&buttons[1]);
    report.stadia = gpio_pin_get_dt(&buttons[2]);
    report.capture = gpio_pin_get_dt(&buttons[3]);
    report.l3 = gpio_pin_get_dt(&buttons[4]);
    report.r3 = gpio_pin_get_dt(&buttons[5]);
    report.x = gpio_pin_get_dt(&buttons[10]);
    report.y = gpio_pin_get_dt(&buttons[11]);
    report.r1 = gpio_pin_get_dt(&buttons[12]);
    report.l1 = gpio_pin_get_dt(&buttons[13]);
    report.a = gpio_pin_get_dt(&buttons[14]);
    report.b = gpio_pin_get_dt(&buttons[15]);
    report.r2 = gpio_pin_get_dt(&buttons[16]);
    report.r2_axis = report.r2 * 255;
    report.l2 = gpio_pin_get_dt(&buttons[17]);
    report.l2_axis = report.l2 * 255;

    int dpad = gpio_pin_get_dt(&buttons[6]) | (gpio_pin_get_dt(&buttons[8]) << 1) | (gpio_pin_get_dt(&buttons[9]) << 2) | (gpio_pin_get_dt(&buttons[7]) << 3);

    report.dpad = dpad_lut[dpad];

    if (memcmp(&prev_report, &report, sizeof(report))) {
        k_msgq_put(&hids_queue, &report, K_NO_WAIT);
        k_work_submit(&hids_work);
        memcpy(&prev_report, &report, sizeof(report));
    }
}

int main() {
    LOG_INF("Gamepad nRF52");

    if (!CHK(bt_conn_auth_cb_register(&conn_auth_callbacks))) {
        return 0;
    }

    if (!CHK(bt_conn_auth_info_cb_register(&conn_auth_info_callbacks))) {
        return 0;
    }

    report_init();
    hid_init();

    if (!CHK(bt_enable(NULL))) {
        return 0;
    }

    settings_load();
    advertising_start();
    configure_buttons();

    while (1) {
        k_sleep(K_MSEC(1));
        handle_buttons();
    }
}
```
